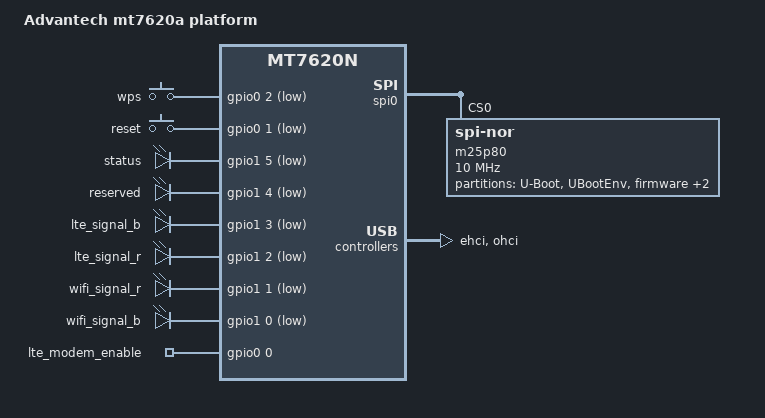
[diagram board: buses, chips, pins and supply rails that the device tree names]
/dts-v1/;

#include "adv_mt7620a.dtsi"

#include <dt-bindings/gpio/gpio.h>
#include <dt-bindings/input/input.h>

/ {
	compatible = "adv,adv-mt7620a", "ralink,mt7620n-soc";
	model = "Advantech mt7620a platform";

	gpio-keys-polled {
		compatible = "gpio-keys-polled";
		poll-interval = <20>;

		wps {
			label = "wps";
			gpios = <&gpio0 2 GPIO_ACTIVE_LOW>;
			linux,code = <KEY_WPS_BUTTON>;
		};

		reset {
			label = "reset";
			gpios = <&gpio0 1 GPIO_ACTIVE_LOW>;
			linux,code = <KEY_RESTART>;
		};
	};

	gpio-leds {
		compatible = "gpio-leds";

		status {
			label = "status";
			gpios = <&gpio1 5 GPIO_ACTIVE_LOW>;
			default-state = "on";
			linux,default-trigger = "default-on";
		};

		reserved {
			label = "reserved";
			gpios = <&gpio1 4 GPIO_ACTIVE_LOW>;
			default-state = "off";
			linux,default-trigger = "none";
		};

		signal_b {
			label = "lte_signal_b";
			gpios = <&gpio1 3 GPIO_ACTIVE_LOW>;
			default-state = "off";
			linux,default-trigger = "none";
		};

		signal_r {
			label = "lte_signal_r";
			gpios = <&gpio1 2 GPIO_ACTIVE_LOW>;
			default-state = "off";
			linux,default-trigger = "none";
		};

		wifi_r {
			label = "wifi_signal_r";
			gpios = <&gpio1 1 GPIO_ACTIVE_LOW>;
			default-state = "on";
			linux,default-trigger = "default-on";
		};

		wifi_b {
			label = "wifi_signal_b";
			gpios = <&gpio1 0 GPIO_ACTIVE_LOW>;
			default-state = "on";
			linux,default-trigger = "default-on";
		};
	};

	gpio_export {
		compatible = "gpio-export";
		#size-cells = <0>;

		lte_modem_enable {
			gpio-export,name = "lte_modem_enable";
			gpio-export,output = <1>;
			gpios = <&gpio0 0 GPIO_ACTIVE_HIGH>;
		};
	};

	wmac@10180000 {
		ralink,mtd-eeprom = <&factory 0x20>;
	};
};

&gpio1 {
	status = "okay";
};

&gpio2 {
	status = "okay";
};

&gpio3 {
	status = "okay";
};

&spi0 {
	status = "okay";

	m25p80@0 {
		compatible = "jedec,spi-nor";
		reg = <0>;
		spi-max-frequency = <10000000>;

		partitions {
			compatible = "fixed-partitions";
			#address-cells = <1>;
			#size-cells = <1>;

			partition@0 {
				label = "U-Boot";
				reg = <0x0 0x20000>;
			};

			partition@20000 {
				label = "UBootEnv";
				reg = <0x20000 0x10000>;
			};

			partition@30000 {
				label = "firmware";
				reg = <0x30000 0x1400000>;
			};

			rootfs_data: partition@1430000 {
				label = "rootfs_data";
				reg = <0x1430000 0xBB0000>; 
			};

			factory: partition@1fe0000 {
				label = "Adv_Factory";
				reg = <0x1fe0000 0x20000>;
			};
		};
	};
};

&ehci {
	status = "okay";
};

&ohci {
	status = "okay";
};

&ethernet {
	mtd-mac-address = <&factory 0x20>;
	mediatek,portmap = "wllll";
	port@4 {
		status = "okay";
	};
};

&pinctrl {
	state_default: pinctrl0 {
		default {
			ralink,group = "spi refclk", "i2c", "rgmii1", "rgmii2";
			ralink,function = "gpio";
		};
	};
};
